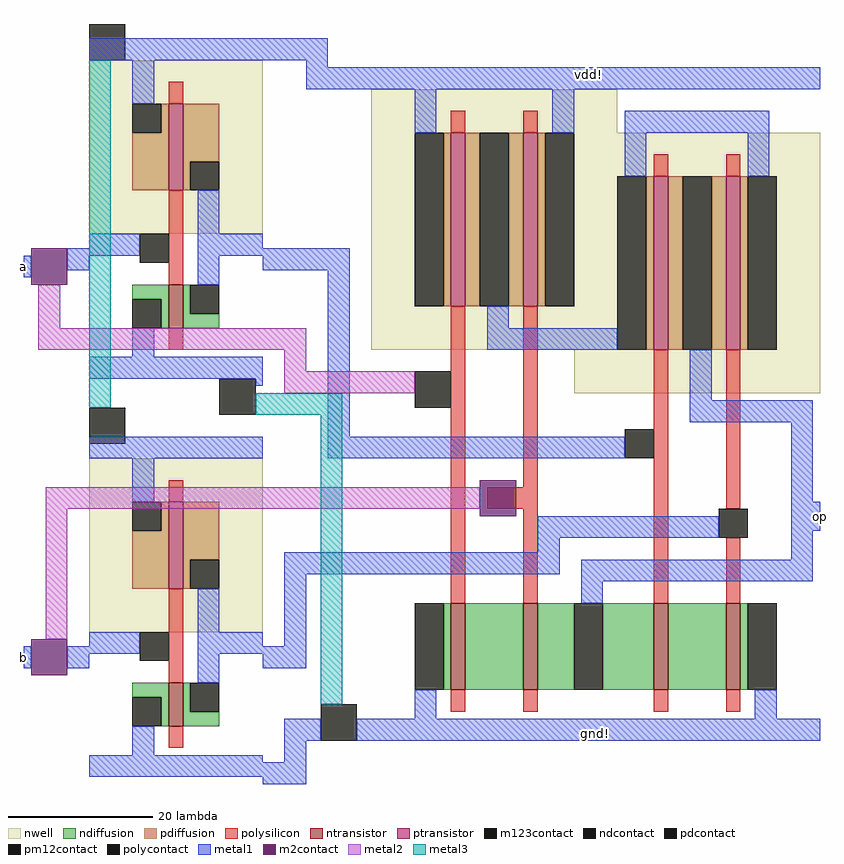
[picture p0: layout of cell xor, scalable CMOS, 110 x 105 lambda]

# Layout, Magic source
magic
tech scmos
<< nwell >>
rect -3 34 31 40
rect -3 4 59 34
rect 25 -2 59 4
<< ntransistor >>
rect 8 -43 10 -31
rect 18 -43 20 -31
rect 36 -43 38 -31
rect 46 -43 48 -31
<< ptransistor >>
rect 8 10 10 34
rect 18 10 20 34
rect 36 4 38 28
rect 46 4 48 28
<< ndiffusion >>
rect 7 -43 8 -31
rect 10 -43 18 -31
rect 20 -43 25 -31
rect 29 -43 36 -31
rect 38 -43 46 -31
rect 48 -43 49 -31
<< pdiffusion >>
rect 7 10 8 34
rect 10 10 12 34
rect 16 10 18 34
rect 20 10 21 34
rect 35 4 36 28
rect 38 4 40 28
rect 44 4 46 28
rect 48 4 49 28
<< ndcontact >>
rect 3 -43 7 -31
rect 25 -43 29 -31
rect 49 -43 53 -31
<< pdcontact >>
rect 3 10 7 34
rect 12 10 16 34
rect 21 10 25 34
rect 31 4 35 28
rect 40 4 44 28
rect 49 4 53 28
<< polysilicon >>
rect 8 34 10 37
rect 18 34 20 37
rect 36 28 38 31
rect 46 28 48 31
rect 8 -31 10 10
rect 18 -15 20 10
rect 13 -18 20 -15
rect 18 -31 20 -18
rect 36 -31 38 4
rect 46 -18 48 4
rect 46 -31 48 -22
rect 8 -46 10 -43
rect 18 -46 20 -43
rect 36 -46 38 -43
rect 46 -46 48 -43
<< polycontact >>
rect 32 -11 36 -7
rect 45 -22 49 -18
<< metal1 >>
rect -18 44 -9 47
rect -12 43 -9 44
rect -12 40 59 43
rect 3 34 6 40
rect 22 34 25 40
rect -51 14 -50 17
rect -45 15 -42 18
rect -18 15 -6 18
rect -19 -1 -18 0
rect -9 -8 -6 15
rect 32 34 52 37
rect 32 28 35 34
rect 49 28 52 34
rect 13 7 16 10
rect 13 4 31 7
rect 41 -3 44 4
rect 41 -6 58 -3
rect -9 -11 32 -8
rect 55 -17 58 -6
rect 20 -22 45 -19
rect 55 -21 59 -17
rect 20 -24 23 -22
rect -15 -27 23 -24
rect 55 -25 58 -21
rect -51 -40 -50 -37
rect -15 -37 -12 -27
rect 26 -28 58 -25
rect 26 -31 29 -28
rect -45 -40 -42 -37
rect -18 -40 -12 -37
rect -15 -50 -10 -47
rect 3 -47 6 -43
rect 50 -47 53 -43
rect -5 -50 59 -47
rect -15 -53 -12 -50
rect -18 -56 -12 -53
<< m2contact >>
rect -50 13 -45 18
rect 12 -19 17 -14
rect -50 -41 -45 -36
<< pm12contact >>
rect 3 -4 8 1
<< metal2 >>
rect -49 7 -46 13
rect -49 4 -12 7
rect -15 1 -12 4
rect -15 -2 3 1
rect -48 -18 12 -15
rect -48 -36 -45 -18
<< m123contact >>
rect -42 44 -37 49
rect -42 -9 -37 -4
rect -24 -5 -19 0
rect -10 -50 -5 -45
<< metal3 >>
rect -42 -4 -39 44
rect -19 -5 -7 -2
rect -10 -45 -7 -5
use inv  inv_0
transform 1 0 -42 0 1 14
box 0 -15 24 33
use inv  inv_1
transform 1 0 -42 0 1 -41
box 0 -15 24 33
<< labels >>
rlabel metal1 28 -49 28 -49 1 gnd!
rlabel metal1 27 42 27 42 5 vdd!
rlabel metal1 -51 14 -51 17 3 a
rlabel metal1 59 -21 59 -17 7 op
rlabel metal1 -51 -40 -51 -37 3 b
<< end >>

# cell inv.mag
magic
tech scmos
<< nwell >>
rect 0 6 24 30
<< ntransistor >>
rect 11 -7 13 -1
<< ptransistor >>
rect 11 12 13 24
<< ndiffusion >>
rect 6 -3 11 -1
rect 10 -7 11 -3
rect 13 -5 14 -1
rect 13 -7 18 -5
<< pdiffusion >>
rect 10 20 11 24
rect 6 12 11 20
rect 13 16 18 24
rect 13 12 14 16
<< ndcontact >>
rect 6 -7 10 -3
rect 14 -5 18 -1
<< pdcontact >>
rect 6 20 10 24
rect 14 12 18 16
<< polysilicon >>
rect 11 24 13 27
rect 11 -1 13 12
rect 11 -10 13 -7
<< polycontact >>
rect 7 2 11 6
<< metal1 >>
rect 0 30 24 33
rect 6 24 9 30
rect 15 6 18 12
rect 0 3 7 6
rect 15 3 24 6
rect 15 -1 18 3
rect 6 -11 9 -7
rect 0 -14 24 -11
<< labels >>
rlabel metal1 14 31 14 31 5 vdd!
rlabel metal1 24 3 24 6 7 op
rlabel metal1 0 3 0 6 3 in
rlabel metal1 20 -13 20 -13 1 gnd!
<< end >>
